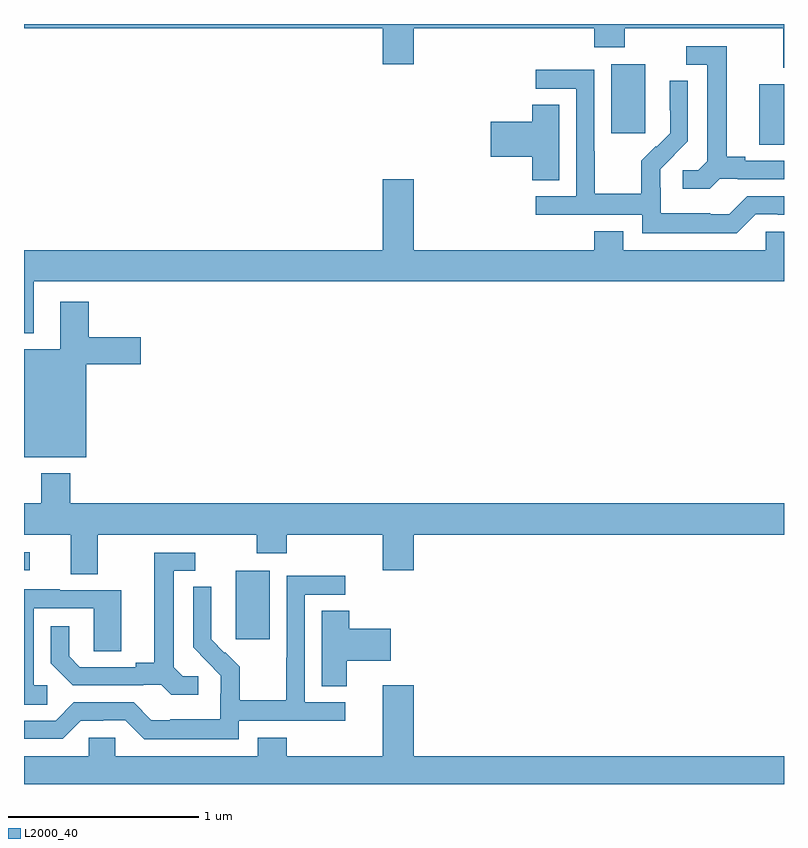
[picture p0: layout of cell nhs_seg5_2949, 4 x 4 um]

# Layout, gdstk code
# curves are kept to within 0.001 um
import gdstk
lib = gdstk.Library(unit=1e-6, precision=1e-09)
def R(c, l, rs):  # rectangles x0, y0, x1, y1
    for r in rs: c.add(gdstk.rectangle(r[:2], r[2:], *l))
def P(c, l, *ps):  # polygons
    for p in ps: c.add(gdstk.Polygon(p, *l))
L2000_40 = (2000, 40)

nhs_seg5_2949 = lib.new_cell('nhs_seg5_2949')
R(nhs_seg5_2949, L2000_40, [(284.114,837.561,284.293,837.922), (283,837.924,283.03,838.02), (286.871,840.163,287,840.483), (286.091,840.225,286.27,840.586)])
P(nhs_seg5_2949, L2000_40, [(283,840.776),(284.888,840.776),(284.888,840.588),(285.052,840.588),(285.052,840.776),(286.001,840.776),(286.001,840.677),(286.161,840.677),(286.161,840.776),(286.997,840.776),(286.997,840.568),(287,840.568),(287,840.799),(283,840.799)],
  [(286.662,839.985),(286.756,839.985),(286.756,839.982),(287,839.982),(287,840.078),(286.795,840.078),(286.795,840.101),(286.699,840.101),(286.699,840.681),(286.485,840.681),(286.485,840.585),(286.595,840.585),(286.595,840.077),(286.548,840.03),(286.467,840.03),(286.467,839.933),(286.61,839.933)],
  [(286.851,839.799),(286.967,839.799),(286.967,839.796),(287,839.796),(287,839.892),(286.806,839.892),(286.713,839.799),(286.613,839.799),(286.613,839.803),(286.35,839.803),(286.35,839.937),(286.348,839.937),(286.348,840.034),(286.494,840.182),(286.494,840.5),(286.398,840.5),(286.398,840.346),(286.4,840.346),(286.4,840.224),(286.329,840.153),(286.326,840.156),(286.249,840.079),(286.249,839.905),(286.005,839.905),(286.005,840.128),(286.002,840.128),(286.002,840.558),(285.693,840.558),(285.693,840.459),(285.906,840.459),(285.906,839.892),(285.693,839.892),(285.693,839.796),(286.254,839.796),(286.254,839.699),(286.751,839.699)],
  [(285.817,840.374),(285.674,840.374),(285.674,840.284),(285.456,840.284),(285.456,840.101),(285.674,840.101),(285.674,839.977),(285.817,839.977)],
  [(283.051,839.444),(287,839.444),(287,839.706),(286.905,839.706),(286.905,839.608),(286.153,839.608),(286.153,839.707),(286.001,839.707),(286.001,839.608),(285.052,839.608),(285.052,839.983),(284.888,839.983),(284.888,839.608),(283,839.608),(283,839.171),(283.051,839.171)],
  [(283.327,839.009),(283.615,839.009),(283.615,839.151),(283.34,839.151),(283.34,839.338),(283.19,839.338),(283.19,839.086),(283,839.086),(283,838.52),(283.327,838.52)],
  [(283.387,838.112),(284.224,838.112),(284.224,838.013),(284.384,838.013),(284.384,838.112),(284.888,838.112),(284.888,837.924),(285.052,837.924),(285.052,838.112),(287,838.112),(287,838.276),(283.244,838.276),(283.244,838.435),(283.091,838.435),(283.091,838.276),(283,838.276),(283,838.112),(283.247,838.112),(283.247,837.904),(283.387,837.904)],
  [(283.918,837.366),(283.836,837.366),(283.789,837.413),(283.789,837.921),(283.9,837.921),(283.9,838.017),(283.685,838.017),(283.685,837.437),(283.589,837.437),(283.589,837.414),(283.294,837.414),(283.237,837.471),(283.237,837.628),(283.14,837.628),(283.14,837.434),(283.256,837.318),(283.628,837.318),(283.628,837.321),(283.722,837.321),(283.774,837.269),(283.918,837.269)],
  [(284.13,837.132),(284.692,837.132),(284.692,837.228),(284.478,837.228),(284.478,837.795),(284.692,837.795),(284.692,837.894),(284.382,837.894),(284.382,837.464),(284.38,837.464),(284.38,837.241),(284.135,837.241),(284.135,837.415),(284.058,837.492),(284.055,837.489),(283.985,837.56),(283.986,837.836),(283.89,837.836),(283.89,837.518),(284.036,837.37),(284.036,837.273),(284.034,837.273),(284.034,837.139),(283.771,837.139),(283.771,837.135),(283.671,837.135),(283.578,837.228),(283.263,837.228),(283.167,837.132),(283,837.132),(283,837.036),(283.203,837.036),(283.299,837.132),(283.418,837.132),(283.418,837.135),(283.533,837.135),(283.633,837.035),(284.13,837.035)],
  [(283.123,837.318),(283.05,837.318),(283.05,837.723),(283.368,837.723),(283.368,837.499),(283.513,837.499),(283.513,837.819),(283.189,837.819),(283.189,837.823),(283,837.823),(283,837.217),(283.123,837.217)],
  [(284.698,837.449),(284.929,837.449),(284.929,837.615),(284.711,837.615),(284.711,837.71),(284.567,837.71),(284.567,837.313),(284.698,837.313)],
  [(287,836.944),(285.052,836.944),(285.052,837.319),(284.888,837.319),(284.888,836.944),(284.384,836.944),(284.384,837.043),(284.231,837.043),(284.231,836.944),(283.479,836.944),(283.479,837.042),(283.341,837.042),(283.341,836.944),(283,836.944),(283,836.799),(287,836.799)])

lib.write_gds('nhs_seg5_2949.gds')
